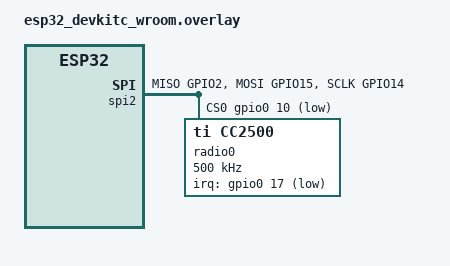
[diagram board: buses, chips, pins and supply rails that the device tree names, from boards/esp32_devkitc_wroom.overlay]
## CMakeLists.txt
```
#-------------------------------------------------------------------------------
# Zephyr Example Application
#
# Copyright (c) 2021 Nordic Semiconductor ASA
# SPDX-License-Identifier: Apache-2.0

cmake_minimum_required(VERSION 3.20.0)
set(SYSCALL_INCLUDE_DIRS "${CMAKE_CURRENT_SOURCE_DIR}/../include")

find_package(Zephyr REQUIRED HINTS $ENV{ZEPHYR_BASE})

project(app LANGUAGES C)

target_sources(app PRIVATE src/main.c)

# Stored program: duration;mode;power CSV (header line, empty duration = forever) -> C table
set(PROGRAM_CSV ${CMAKE_CURRENT_SOURCE_DIR}/programs/${CONFIG_CCAPP_PROGRAM})
if("${CONFIG_CCAPP_PROGRAM}" STREQUAL "" OR NOT EXISTS ${PROGRAM_CSV} OR IS_DIRECTORY ${PROGRAM_CSV})
  file(GLOB available RELATIVE ${CMAKE_CURRENT_SOURCE_DIR}/programs ${CMAKE_CURRENT_SOURCE_DIR}/programs/*.csv)
  message(FATAL_ERROR "CONFIG_CCAPP_PROGRAM='${CONFIG_CCAPP_PROGRAM}' not found in programs/, available: ${available}")
endif()
set_property(DIRECTORY APPEND PROPERTY CMAKE_CONFIGURE_DEPENDS ${PROGRAM_CSV})
file(READ ${PROGRAM_CSV} csv)
string(REPLACE ";" "," csv "${csv}")
string(REPLACE "\r" "" csv "${csv}")
string(REPLACE "\n" ";" rows "${csv}")
list(POP_FRONT rows)
set(inc "")
foreach(row IN LISTS rows)
  string(STRIP "${row}" row)
  if(row STREQUAL "")
    continue()
  endif()
  string(REGEX MATCH "^([0-9]*),([a-z-]+),([0-9]+)$" ok "${row}")
  if(NOT ok)
    message(FATAL_ERROR "${PROGRAM_CSV}: bad row '${row}'")
  endif()
  set(dur "${CMAKE_MATCH_1}")
  string(TOUPPER "${CMAKE_MATCH_2}" m)
  string(REPLACE "-" "_" m "${m}")
  if("${dur}" STREQUAL "")
    set(dur 0)
  endif()
  string(APPEND inc "{${dur}, ${m}, ${CMAKE_MATCH_3}},\n")
endforeach()
file(CONFIGURE OUTPUT ${CMAKE_CURRENT_BINARY_DIR}/program.inc CONTENT "${inc}")
target_include_directories(app PRIVATE ${CMAKE_CURRENT_BINARY_DIR})
```

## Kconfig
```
# Copyright (c) 2021 Nordic Semiconductor ASA
# SPDX-License-Identifier: Apache-2.0
#
# This file is the application Kconfig entry point. All application Kconfig
# options can be defined here or included via other application Kconfig files.
# You can browse these options using the west targets menuconfig (terminal) or
# guiconfig (GUI).

menu "Zephyr"
source "Kconfig.zephyr"
endmenu

config CCAPP_PROGRAM
	string "Stored program CSV, relative to ccapp/programs/"
	help
	  duration;mode;power CSV compiled into flash and run at boot.

module = APP
module-str = APP
source "subsys/logging/Kconfig.template.log_config"
```

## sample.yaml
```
# This file is provided so that the application can be compiled using Twister,
# the Zephyr testing tool. In this file, multiple combinations can be specified,
# so that you can easily test all of them locally or in CI.
sample:
  description: Example application
  name: example-application
common:
  build_only: true
  integration_platforms:
    - nucleo_f756zg
tests:
  app.default: {}
  app.debug:
    extra_overlay_confs:
      - debug.conf
```

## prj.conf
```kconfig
# Copyright (c) 2021 Nordic Semiconductor ASA
# SPDX-License-Identifier: Apache-2.0
#
# This file contains selected Kconfig options for the application.

CONFIG_SPI=y
CONFIG_CC2500=y
CONFIG_CC2500_TRIGGER=n
CONFIG_SHELL=y

# stored program, file in programs/
CONFIG_CCAPP_PROGRAM="program_10min.csv"

# logging
CONFIG_LOG=y
CONFIG_APP_LOG_LEVEL_DBG=y
CONFIG_CC2500_LOG_LEVEL_WRN=y
#CONFIG_CC2500_LOG_LEVEL_DBG=y
```

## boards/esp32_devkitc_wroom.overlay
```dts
/*
 * Copyright (c) 2024 Eve Redero
 * SPDX-License-Identifier: Apache-2.0
 */

&pinctrl {
spim2_default: spim2_default {
		group1 {
			pinmux = <SPIM2_MISO_GPIO2>,
				 <SPIM2_MOSI_GPIO15>,
				 <SPIM2_SCLK_GPIO14>;
		};
	};
};

&spi2 {
	#address-cells = <1>;
	#size-cells = <0>;
	status = "okay";
	pinctrl-0 = <&spim2_default>;
	pinctrl-names = "default";
	cs-gpios = <&gpio0 10 GPIO_ACTIVE_LOW>;

	radio0: propy_radio@0 {
		reg = <0>;
		compatible = "ti,cc2500";
		status = "okay";
		spi-max-frequency = <500000>; // Max 10 MHz for cc2500, min 420k for driver
		channel-frequency = <3>;
		start-frequency = <2412>;
		irq-gpios = <&gpio0 17 GPIO_ACTIVE_LOW>;
		payload-crc;
		/* From 0x07 to 0x2E */
		conf-array =         [0A 04 01 00 0A 00 5D 13 B1
		2D 3B 73 22 F8 00 07 30 18 1D 1C C7 00 B0 87 6B
		F8 B6 10 EA 0A 00 11 41 00 59 7F 3F 88 31 0B];
	};
};
```

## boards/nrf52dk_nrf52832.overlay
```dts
/*
 * Copyright (c) 2026 Eve Redero
 * SPDX-License-Identifier: Apache-2.0
 *
 * arduino_spi defaults: SCK P0.25, MOSI P0.23, MISO P0.24, CS D10/P0.22
 */

&arduino_spi {
	radio0: propy_radio@0 {
		reg = <0>;
		compatible = "ti,cc2500";
		status = "okay";
		spi-max-frequency = <500000>; // Max 10 MHz for cc2500, min 420k for driver
		channel-frequency = <4>;
		start-frequency = <2412>;
		irq-gpios = <&gpio0 3 GPIO_ACTIVE_LOW>; /* GDO0 on A0 */
		payload-crc;
		/* From 0x07 to 0x2E */
		conf-array =         [0A 04 01 00 0A 00 5D 13 B1
		2D 3B 73 22 F8 00 07 30 18 1D 1C C7 00 B0 87 6B
		F8 B6 10 EA 0A 00 11 41 00 59 7F 3F 88 31 0B];
	};
};
```

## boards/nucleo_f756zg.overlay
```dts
/*
 * Copyright (c) 2024 Eve Redero
 * SPDX-License-Identifier: Apache-2.0
 */

&spi1 {
	pinctrl-0 = <&spi1_sck_pb3 &spi1_miso_pb4 &spi1_mosi_pb5>;
	pinctrl-names = "default";
	cs-gpios = <&gpioa 4 GPIO_ACTIVE_LOW>;
	clock-frequency = <8000000>; // Max 8 Mbps for SPI
	status = "okay";

	radio0: propy_radio@0 {
		reg = <0>;
		compatible = "ti,cc2500";
		status = "okay";
		spi-max-frequency = <500000>; // This really sets frequency
		/* From 0x07 to 0x2E */
		conf-array =         [0A 04 01 00 0A 00 5D 13 B1
		2D 3B 73 22 F8 00 07 30 18 1D 1C C7 00 B0 87 6B
		F8 B6 10 EA 0A 00 11 41 00 59 7F 3F 88 31 0B];
	};
};
```

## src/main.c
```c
/*
 * Copyright (C) 2024 Eve Redero
 * SPDX-License-Identifier: Apache-2.0
 */

#include <string.h>
#include <zephyr/kernel.h>
#include <zephyr/devicetree.h>

#include <app/drivers/propy_radio.h>
#include <zephyr/logging/log.h>
#include <zephyr/shell/shell.h>
#include <zephyr/sys/atomic.h>
LOG_MODULE_REGISTER(main, CONFIG_APP_LOG_LEVEL);
#if !DT_NODE_EXISTS(DT_NODELABEL(radio0))
#error "whoops, node label radio0 not found"
#endif

/* Remote sends a packet every ~58 ms, alternating short (7 B) and long (9 B) */
#define PKT_GAP_MS 54
/* Each received packet dips the device motor on battery: resend unchanged levels only this often.
 * Sends land on the ~56 ms tick, so 100 -> ~112 ms actual. On battery 150 (~168 ms) and 200
 * sometimes drop the link (2026-11-23).
 */
#define KEEPALIVE_MS 100
/* Remote strength range (- / + buttons), level = 8 * S */
#define S_MIN      5
#define S_MAX      16
#define S_BOOT     5
#define FLOOR      (8 * S_MIN)
/* Tilt/motion test pattern (no accelerometer here): ramp 0 -> 8*S, then rest at 0 */
#define TEST_RAMP_PKTS 52 /* ~3 s */
#define TEST_REST_PKTS 17 /* ~1 s */

/*
 * Patterns measured on the remote, see spi_cc2500_protocol.md and
 * docs/sniff_2026-11-20_*.log. One step = one packet (58 ms).
 */
enum { IDLE, TILT, MOTION, STEADY, SLOW, FAST, RAMP, WAVE, RANDOM, SINE_SLOW, SINE_FAST };

static const struct {
	const char *name;
	uint8_t byte; /* mode byte on air (device ignores it) */
	const char *help;
} modes[] = {
	[IDLE]   = {"idle", 0, "SenseMotion 1 at rest (boot/pairing): 0x28"},
	[TILT]   = {"tilt", 0, "SenseMotion 1, test pattern: ramp 0 -> 8*S, rest"},
	[MOTION] = {"motion", 1, "SenseMotion 2, test pattern: ramp 0 -> 8*S, rest"},
	[STEADY] = {"steady", 2, "Pattern 1: constant 8*S"},
	[SLOW]   = {"slow", 3, "Pattern 2: slow pulse, 0.4 s off / 0.4 s on"},
	[FAST]   = {"fast", 4, "Pattern 3: fast pulse, 0.17 s on / 0.23 s off"},
	[RAMP]   = {"ramp", 5, "Pattern 4: sawtooth 0x28 -> 8*S, hold 0.5 s"},
	[WAVE]   = {"wave", 6, "Pattern 5: triangle 0x28 <-> 8*S"},
	[RANDOM] = {"random", 7, "Pattern 6: random 0.4 s steps, ignores power"},
	[SINE_SLOW] = {"sine-slow", 2, "Ours: 0 -> 8*S over 2 s, hold 1 s, down 2 s, no rest"},
	[SINE_FAST] = {"sine-fast", 2, "Ours: 0 -> 8*S over 0.5 s, hold 0.5 s, down 0.5 s, no rest"},
};

/* Pattern 6 levels, one per 7 packets, repeats after 127 steps (7-bit LFSR period) */
static const uint8_t random_levels[127] = {
	0x60, 0x50, 0x30, 0x70, 0x60, 0x50, 0x30, 0x60, 0x50, 0x30, 0x70, 0x70, 0x60, 0x50, 0x48, 0x40,
	0x28, 0x38, 0x48, 0x50, 0x30, 0x60, 0x40, 0x38, 0x48, 0x50, 0x30, 0x70, 0x70, 0x70, 0x60, 0x40,
	0x28, 0x38, 0x48, 0x40, 0x28, 0x28, 0x28, 0x28, 0x38, 0x30, 0x60, 0x40, 0x38, 0x30, 0x60, 0x50,
	0x30, 0x60, 0x40, 0x28, 0x38, 0x30, 0x70, 0x60, 0x40, 0x38, 0x30, 0x70, 0x60, 0x50, 0x48, 0x50,
	0x30, 0x70, 0x60, 0x40, 0x28, 0x28, 0x38, 0x48, 0x40, 0x38, 0x30, 0x60, 0x40, 0x28, 0x28, 0x28,
	0x38, 0x48, 0x50, 0x48, 0x50, 0x48, 0x50, 0x30, 0x60, 0x50, 0x48, 0x40, 0x38, 0x48, 0x40, 0x38,
	0x48, 0x50, 0x48, 0x40, 0x38, 0x30, 0x70, 0x70, 0x60, 0x40, 0x38, 0x48, 0x40, 0x28, 0x38, 0x30,
	0x60, 0x50, 0x48, 0x50, 0x48, 0x40, 0x28, 0x28, 0x38, 0x30, 0x70, 0x70, 0x70, 0x70, 0x70,
};

/* Trapezoid "sine": ramp 0 -> top, hold, ramp top -> 0, rest at 0; durations in packets */
static uint8_t trapezoid(uint32_t t, uint32_t ramp, uint32_t hold, uint32_t rest, uint32_t top)
{
	t %= 2 * ramp + hold + rest;
	if (t < ramp) {
		return top * t / ramp;
	}
	t -= ramp;
	if (t < hold) {
		return top;
	}
	t -= hold;
	if (t < ramp) {
		return top - top * t / ramp;
	}
	return 0;
}

/* Motor level of mode m at strength s, t packets after the mode was entered */
static uint8_t level_at(int m, uint32_t s, uint32_t t)
{
	uint32_t top = 8 * s;
	uint32_t n = (top - FLOOR) / 8; /* 8-unit steps from FLOOR to top */
	uint32_t i;

	switch (m) {
	case IDLE:
		return FLOOR;
	case TILT:
	case MOTION:
		t %= TEST_RAMP_PKTS + TEST_REST_PKTS;
		return t < TEST_RAMP_PKTS ? top * t / (TEST_RAMP_PKTS - 1) : 0;
	case STEADY:
		return top;
	case SLOW:
		return t % 14 < 7 ? 0 : top;
	case FAST:
		return t % 7 < 3 ? top : 0;
	case RAMP:
		t %= 2 * n + 9;
		return t < 2 * n ? FLOOR + 8 * (t / 2) : top;
	case WAVE:
		/* down then up, one step every 8/3 packets, ends held twice as long */
		i = (t * 3 / 8) % (2 * n + 2);
		return top - 8 * MIN(i, 2 * n + 1 - i);
	case RANDOM:
		return random_levels[(t / 7) % ARRAY_SIZE(random_levels)];
	case SINE_SLOW:
		return trapezoid(t, 34, 17, 0, top); /* 2 s ramps, 1 s hold, no rest (58 ms/pkt) */
	case SINE_FAST:
		return trapezoid(t, 9, 9, 0, top); /* 0.5 s ramps, 0.5 s hold, no rest */
	default:
		return 0;
	}
}

static atomic_t mode = ATOMIC_INIT(IDLE);
static atomic_t strength = ATOMIC_INIT(S_BOOT);
static atomic_t stopped;
/* Test knobs: packet spacing and which lengths to send (bit0 short, bit1 long) */
static atomic_t gap_ms = ATOMIC_INIT(KEEPALIVE_MS);
static atomic_t pkts = ATOMIC_INIT(3);
static const char *const pkts_names[] = {[1] = "short", [2] = "long", [3] = "both"};

/* Stored program, generated from CONFIG_CCAPP_PROGRAM by CMakeLists.txt. s = 0: forever */
static const struct {
	uint16_t s;
	uint8_t mode;
	uint8_t power;
} program[] = {
#include "program.inc"
};
/* Idle like the remote at power-up before starting the program */
#define BOOT_IDLE_MS 10000
enum { PROG_NONE, PROG_START, PROG_STOP };
/* Shell requests, applied by the main loop which owns prog_row/prog_end */
static atomic_t prog_req;
/* Current row, -1 = none. Next row is entered at prog_end (0 = never) */
static int prog_row = -1;
static int64_t prog_end = BOOT_IDLE_MS;

static int cmd_power(const struct shell *sh, size_t argc, char **argv)
{
	int err = 0;
	unsigned long s = shell_strtoul(argv[1], 0, &err);

	if (err || (s != 0 && (s < S_MIN || s > S_MAX))) {
		shell_error(sh, "expected %d..%d like the remote, or 0 to stop", S_MIN, S_MAX);
		return -EINVAL;
	}
	atomic_set(&prog_req, PROG_STOP);
	atomic_set(&stopped, s == 0);
	if (s) {
		atomic_set(&strength, s);
	}
	return 0;
}

static int cmd_mode(const struct shell *sh, size_t argc, char **argv)
{
	if (argc == 1) {
		for (size_t i = 0; i < ARRAY_SIZE(modes); i++) {
			shell_print(sh, "%-9s %s", modes[i].name, modes[i].help);
		}
		return 0;
	}
	for (size_t i = 0; i < ARRAY_SIZE(modes); i++) {
		if (strcmp(argv[1], modes[i].name) == 0) {
			atomic_set(&prog_req, PROG_STOP);
			atomic_set(&mode, i);
			return 0;
		}
	}
	shell_error(sh, "unknown mode %s", argv[1]);
	return -EINVAL;
}

static void mode_get(size_t idx, struct shell_static_entry *entry)
{
	entry->syntax = idx < ARRAY_SIZE(modes) ? modes[idx].name : NULL;
	entry->handler = NULL;
	entry->help = idx < ARRAY_SIZE(modes) ? modes[idx].help : NULL;
	entry->subcmd = NULL;
}
SHELL_DYNAMIC_CMD_CREATE(mode_names, mode_get);

static int cmd_gap(const struct shell *sh, size_t argc, char **argv)
{
	int err = 0;
	unsigned long ms = shell_strtoul(argv[1], 0, &err);

	if (err || ms < 5 || ms > 2000) {
		shell_error(sh, "expected 5..2000 ms (default: %d)", KEEPALIVE_MS);
		return -EINVAL;
	}
	atomic_set(&gap_ms, ms);
	return 0;
}

static int cmd_pkts(const struct shell *sh, size_t argc, char **argv)
{
	for (int i = 1; i < ARRAY_SIZE(pkts_names); i++) {
		if (strcmp(argv[1], pkts_names[i]) == 0) {
			atomic_set(&pkts, i);
			return 0;
		}
	}
	shell_error(sh, "expected short, long or both");
	return -EINVAL;
}

static int cmd_program_start(const struct shell *sh, size_t argc, char **argv)
{
	atomic_set(&prog_req, PROG_START);
	return 0;
}

static int cmd_program_stop(const struct shell *sh, size_t argc, char **argv)
{
	atomic_set(&prog_req, PROG_STOP);
	atomic_set(&stopped, 1); /* motor off, keep-alive keeps the link */
	return 0;
}

SHELL_STATIC_SUBCMD_SET_CREATE(program_cmds,
	SHELL_CMD(start, NULL, "Start the stored program from the first row", cmd_program_start),
	SHELL_CMD(stop, NULL, "Stop the stored program and the motor", cmd_program_stop),
	SHELL_SUBCMD_SET_END);

static int cmd_status(const struct shell *sh, size_t argc, char **argv)
{
	int row = prog_row;
	int64_t left = prog_end ? (prog_end - k_uptime_get()) / 1000 : -1;

	shell_print(sh, "mode %s power %ld%s, pkts %s, keep-alive %ld ms", modes[atomic_get(&mode)].name,
		    atomic_get(&strength), atomic_get(&stopped) ? " (stopped)" : "",
		    pkts_names[atomic_get(&pkts)], atomic_get(&gap_ms));
	if (row >= 0 && left >= 0) {
		shell_print(sh, "program row %d/%d, %lld s left", row + 1, (int)ARRAY_SIZE(program), left);
	} else if (row >= 0) {
		shell_print(sh, "program row %d/%d, forever", row + 1, (int)ARRAY_SIZE(program));
	} else if (left >= 0) {
		shell_print(sh, "program starts in %lld s", left);
	} else {
		shell_print(sh, "program stopped");
	}
	return 0;
}

/* Main loop only: apply shell requests and advance the program when the row is over */
static void program_step(void)
{
	int64_t now = k_uptime_get();

	switch (atomic_clear(&prog_req)) {
	case PROG_START:
		prog_row = -1;
		prog_end = now;
		break;
	case PROG_STOP:
		prog_row = -1;
		prog_end = 0;
		return;
	default:
		break;
	}
	if (prog_end == 0 || now < prog_end) {
		return;
	}
	if (prog_row + 1 >= ARRAY_SIZE(program)) {
		prog_end = 0; /* hold the last row */
		return;
	}
	prog_row++;
	if (program[prog_row].power < S_MIN || program[prog_row].power > S_MAX) {
		LOG_ERR("program row %d: power %d not in %d..%d, stopping", prog_row + 1,
			program[prog_row].power, S_MIN, S_MAX);
		prog_row = -1;
		prog_end = 0;
		return;
	}
	atomic_set(&mode, program[prog_row].mode);
	atomic_set(&strength, program[prog_row].power);
	atomic_set(&stopped, 0);
	prog_end = program[prog_row].s ? now + program[prog_row].s * 1000 : 0;
	LOG_INF("program row %d/%d: %s %d, %d s", prog_row + 1, (int)ARRAY_SIZE(program),
		modes[program[prog_row].mode].name, program[prog_row].power, program[prog_row].s);
}

SHELL_STATIC_SUBCMD_SET_CREATE(tia_cmds,
	SHELL_CMD_ARG(power, NULL, "Set power 5-16 like the remote (0 stops)", cmd_power, 2, 0),
	SHELL_CMD_ARG(mode, &mode_names, "Set mode by name, no name lists them", cmd_mode, 1, 1),
	SHELL_CMD_ARG(gap, NULL, "Keep-alive: resend unchanged level every N ms (default 100)",
		      cmd_gap, 2, 0),
	SHELL_CMD_ARG(pkts, NULL, "Test: send short, long or both packets (remote: both)",
		      cmd_pkts, 2, 0),
	SHELL_CMD(program, &program_cmds, "Stored program (runs at boot)", NULL),
	SHELL_CMD(status, NULL, "Show current state", cmd_status),
	SHELL_SUBCMD_SET_END);
SHELL_CMD_REGISTER(tia, &tia_cmds, "Control the remote-controlled device", NULL);

int main(void)
{
	static const struct device *cc2500 = DEVICE_DT_GET(DT_NODELABEL(radio0));
	int cur = IDLE;
	uint32_t t = 0;

	if (!device_is_ready(cc2500)) {
		LOG_ERR("Radio not ready");
		return 0;
	}
	LOG_INF("Device ready, program %s", CONFIG_CCAPP_PROGRAM);

	/* Pattern ticks at the remote's packet rate, but only send on a change or keep-alive */
	int64_t last_tx = 0;
	uint8_t last_l = 0, last_s = 0;
	bool lng = false;

	for (;; t++) {
		program_step();

		int m = atomic_get(&mode);
		uint8_t s = atomic_get(&strength);
		bool changed = m != cur || s != last_s;

		if (m != cur) {
			cur = m;
			t = 0;
		}
		uint8_t l = atomic_get(&stopped) ? 0 : level_at(m, s, t);

		if (changed || l != last_l || k_uptime_get() - last_tx >= atomic_get(&gap_ms)) {
			uint8_t buf[] = {0x01, 0x00, 0xA5, l, l, 0x00, 0x00, modes[m].byte, s};
			int p = atomic_get(&pkts);

			/* alternate short/long like the remote; with one length enabled, use it */
			lng = p == 3 ? !lng : p == 2;
			propy_radio_write(cc2500, buf, lng ? sizeof(buf) : sizeof(buf) - 2);
			last_tx = k_uptime_get();
			last_l = l;
			last_s = s;
		}
		k_msleep(PKT_GAP_MS);
	}
	return 0;
}
```
